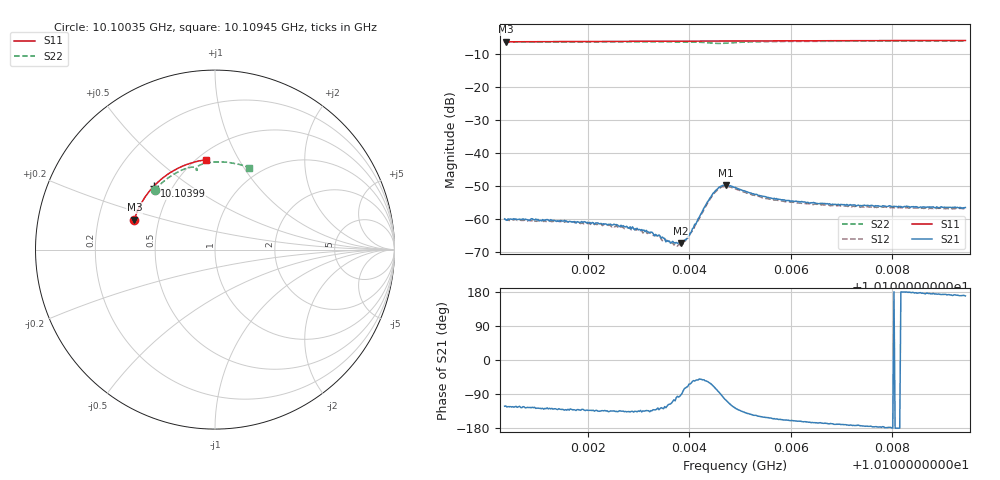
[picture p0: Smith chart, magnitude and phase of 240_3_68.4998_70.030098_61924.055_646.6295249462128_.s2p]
#  HZ  S  RI  R  50.00
! Rohde & Schwarz Vector Network Analyzer
! Rohde-Schwarz,ZNB20-2Port,1311601062101988,3.16
! Created: UTC 3/20/2024, 4:59:19 PM
! freq[Hz]  re:S11  im:S11  re:S21  im:S21  re:S12  im:S12  re:S22  im:S22
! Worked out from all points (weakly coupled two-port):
!   401 points, 10.10035 GHz to 10.10945 GHz, reference 50 ohm
!   highest |S21| = -49.84 dB at 10.10472 GHz (marker M1); lowest = -67.5 dB at 10.10383 GHz (marker M2)
!   lowest |S11| = -6.4 dB at 10.10038 GHz (marker M3), VSWR 2.84, Z = 18.1 + j7.87 ohm
!   |S11| at or under -10 dB: nowhere
!   |S22| runs from -6.9 to -6.1 dB; largest |S21 - S12| = 0.00032
!   S11 on the Smith chart (normalised r, x): 10.10035 GHz: 0.36, +0.16; 10.10399 GHz: 0.40, +0.37; 10.10945 GHz: 0.55, +0.74
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1.0100354e10  -0.4499 0.1665  -0.000528 -0.000846  -0.000465 -0.00087  -0.3349 0.333
1.0100377e10  -0.4494 0.1676  -0.000501 -0.000826  -0.000442 -0.000863  -0.3339 0.3341
1.0100922e10  -0.4384 0.1993  -0.000572 -0.000791  -0.000488 -0.000819  -0.3092 0.3595
1.0101877e10  -0.4142 0.252  -0.000586 -0.000695  -0.000535 -0.00068  -0.2616 0.399
1.0102536e10  -0.3937 0.2865  -0.000581 -0.000568  -0.000496 -0.000577  -0.2253 0.4224
1.0102945e10  -0.3795 0.3068  -0.000507 -0.000496  -0.000444 -0.000506  -0.2014 0.4353
1.0103195e10  -0.3705 0.3189  -0.000438 -0.000455  -0.000403 -0.000465  -0.1862 0.4425
1.01034e10  -0.3624 0.3285  -0.000374 -0.000428  -0.000319 -0.000417  -0.173 0.4479
1.0103582e10  -0.3556 0.337  -0.000213 -0.000403  -0.000175 -0.000425  -0.1611 0.4522
1.0103741e10  -0.349 0.3444  -7.14e-05 -0.000432  -5.11e-05 -0.000398  -0.15 0.4555
1.0103832e10  -0.3453 0.3484  -1.7e-05 -0.000422  2.52e-05 -0.000393  -0.1435 0.4572
1.0103923e10  -0.3415 0.3524  0.000133 -0.000461  0.000186 -0.000425  -0.1367 0.4583
1.0103991e10  -0.3388 0.3554  0.000246 -0.000498  0.000291 -0.000439  -0.1314 0.4589
1.0104309e10  -0.3251 0.3691  0.000889 -0.00126  0.000979 -0.00111  -0.1062 0.4552
1.0104468e10  -0.318 0.3755  0.000896 -0.00227  0.00104 -0.00208  -0.0988 0.4467
1.0104605e10  -0.3119 0.3811  9.12e-05 -0.00306  0.000347 -0.00291  -0.1013 0.4414
1.0104718e10  -0.3069 0.3855  -0.000873 -0.0031  -0.000571 -0.00304  -0.1051 0.4448
1.01049e10  -0.2983 0.3927  -0.00178 -0.00241  -0.00147 -0.00244  -0.1022 0.4569
1.0105605e10  -0.2647 0.4186  -0.00185 -0.000944  -0.0017 -0.00104  -0.0558 0.4807
1.0106423e10  -0.2223 0.4446  -0.00168 -0.000455  -0.00153 -0.000582  -0.000841 0.4881
1.0107946e10  -0.1378 0.481  -0.00158 -5.62e-05  -0.00148 -0.000188  0.0976 0.4824
1.0109447e10  -0.0493 0.5003  -0.00145 0.000282  -0.00142 0.000119  0.1898 0.4573
